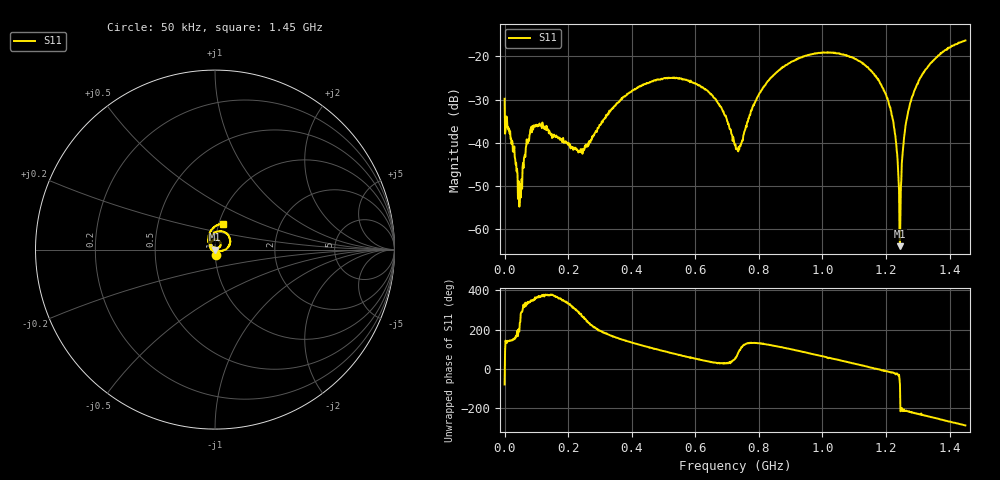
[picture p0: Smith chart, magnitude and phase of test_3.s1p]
! Created with skrf 1.11.0 (http://scikit-rf.org).
# Hz S RI R 50.0
!freq ReS11 ImS11
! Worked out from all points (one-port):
!   1001 points, 50 kHz to 1.45 GHz, reference 50 ohm
!   lowest |S11| = -63.9 dB at 1.244 GHz (marker M1), VSWR 1.00, Z = 50 - j0.0628 ohm
!   |S11| at or under -10 dB: start of sweep to end of sweep
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50000  0.00588 -0.0317
4.789835e7  -0.0013 -0.00188
6.819765e7  0.00748 -0.00553
8.849695e7  0.014 -0.00231
1.812938e8  0.00992 -0.00221
2.436416e8  -0.000484 -0.00837
3.625375e8  -0.0267 0.0141
4.422848e8  -0.0202 0.0432
5.437812e8  0.0166 0.0536
6.583273e8  0.028 0.018
7.25025e8  0.00595 0.00722
7.424244e8  -0.00183 0.00898
7.81573e8  -0.0174 0.0197
8.192718e8  -0.027 0.0375
9.062688e8  -0.012 0.0868
1.087512e9  0.0846 0.051
1.15566e9  0.0663 0.00636
1.202059e9  0.0333 -0.00781
1.225258e9  0.0141 -0.00546
1.233957e9  0.00737 -0.00338
1.238307e9  0.00411 -0.00233
1.244107e9  0.000103 -0.000628
1.249907e9  -0.00548 0.00189
1.257157e9  -0.0096 0.00648
1.268756e9  -0.0176 0.0127
1.296305e9  -0.0313 0.0335
1.332554e9  -0.036 0.0678
1.45e9  0.0472 0.1451
